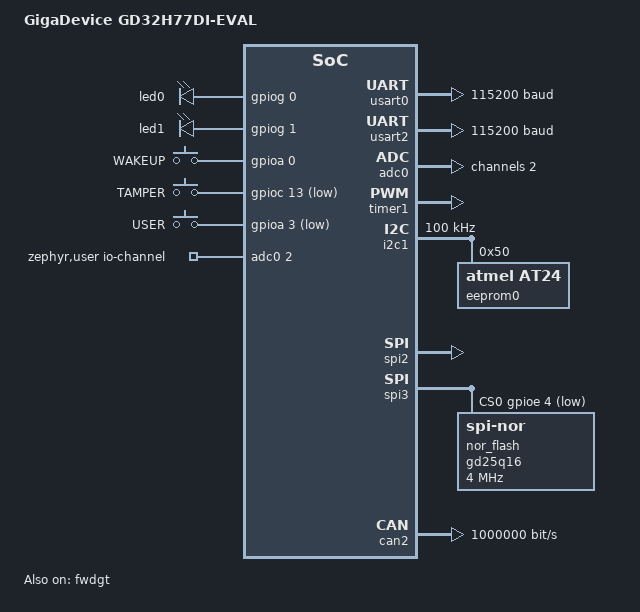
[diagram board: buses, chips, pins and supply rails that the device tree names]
/*
 * Copyright (c) 2026 GigaDevice Semiconductor Inc.
 *
 * SPDX-License-Identifier: Apache-2.0
 */

/dts-v1/;

#include <gd/gd32h77x_78x/gd32h77d.dtsi>
#include "gd32h77di_eval-pinctrl.dtsi"
#include <zephyr/dt-bindings/input/input-event-codes.h>
#include <zephyr/dt-bindings/adc/adc.h>
#include <zephyr/dt-bindings/dma/gd32_dma.h>

/ {
	model = "GigaDevice GD32H77DI-EVAL";
	compatible = "gd,gd32h77di-eval";

	chosen {
		zephyr,sram = &sram0;
		zephyr,dtcm = &dtcm;
		zephyr,flash = &flash0;
		zephyr,console = &usart0;
		zephyr,shell-uart = &usart0;
		zephyr,flash-controller = &fmc;
		zephyr,canbus = &can2;
	};

	leds {
		compatible = "gpio-leds";

		led0: led0 {
			gpios = <&gpiog 0 GPIO_ACTIVE_HIGH>;
		};

		led1: led1 {
			gpios = <&gpiog 1 GPIO_ACTIVE_HIGH>;
		};
	};

	keys {
		compatible = "gpio-keys";

		wakeup_key: wakeup_key {
			label = "WAKEUP";
			gpios = <&gpioa 0 GPIO_ACTIVE_HIGH>;
			zephyr,code = <INPUT_KEY_WAKEUP>;
		};

		tamper_key: tamper_key {
			label = "TAMPER";
			gpios = <&gpioc 13 GPIO_ACTIVE_LOW>;
			zephyr,code = <INPUT_KEY_0>;
		};

		user_key: user_key {
			label = "USER";
			gpios = <&gpioa 3 GPIO_ACTIVE_LOW>;
			zephyr,code = <INPUT_KEY_1>;
		};
	};

	aliases {
		led0 = &led0;
		led1 = &led1;
		sw0 = &user_key;
		watchdog0 = &fwdgt;
		spi-flash0 = &nor_flash;
		eeprom-0 = &eeprom0;
	};

	zephyr,user {
		io-channels = <&adc0 2>;
	};
};

&flash0 {
	partitions {
		compatible = "fixed-partitions";
		#address-cells = <1>;
		#size-cells = <1>;

		/* Last two 64KB CNVM sectors */
		storage_partition: partition@1e0000 {
			label = "storage";
			reg = <0x001e0000 DT_SIZE_K(128)>;
		};
	};
};

&gpioa {
	status = "okay";
};

&gpiob {
	status = "okay";
};

&gpioc {
	status = "okay";
};

&gpioe {
	status = "okay";
};

&gpiog {
	status = "okay";
};

&usart0 {
	status = "okay";
	current-speed = <115200>;
	pinctrl-0 = <&usart0_default>;
	pinctrl-names = "default";
};

&usart2 {
	status = "okay";
	current-speed = <115200>;
	pinctrl-0 = <&usart2_default>;
	pinctrl-names = "default";
};

&fwdgt {
	status = "okay";
};

&adc0 {
	status = "okay";
	pinctrl-0 = <&adc0_default>;
	pinctrl-names = "default";
	#address-cells = <1>;
	#size-cells = <0>;

	channel@2 {
		reg = <2>;
		zephyr,gain = "ADC_GAIN_1";
		zephyr,reference = "ADC_REF_INTERNAL";
		zephyr,acquisition-time = <ADC_ACQ_TIME_DEFAULT>;
		zephyr,resolution = <12>;
	};
};

&timer1 {
	status = "okay";
	prescaler = <0>;

	pwm1: pwm {
		status = "okay";
		pinctrl-0 = <&pwm1_default>;
		pinctrl-names = "default";
	};
};

&dma0 {
	status = "okay";
};

&dma1 {
	status = "okay";
};

&dmamux {
	status = "okay";
};

&i2c1 {
	status = "okay";
	pinctrl-0 = <&i2c1_default>;
	pinctrl-names = "default";
	clock-frequency = <I2C_BITRATE_STANDARD>;
	dmas = <&dmamux 2 45 (GD32_DMA_PERIPH_RX | GD32_DMA_PRIORITY_HIGH)>,
	       <&dmamux 3 46 (GD32_DMA_PERIPH_TX | GD32_DMA_PRIORITY_HIGH)>;
	dma-names = "rx", "tx";

	eeprom0: eeprom@50 {
		compatible = "atmel,at24";
		reg = <0x50>;
		size = <256>;
		pagesize = <8>;
		address-width = <8>;
		timeout = <5>;
	};
};

&spi2 {
	status = "okay";
	pinctrl-0 = <&spi2_default>;
	pinctrl-names = "default";
};

&spi3 {
	status = "okay";
	pinctrl-0 = <&spi3_default>;
	pinctrl-names = "default";
	cs-gpios = <&gpioe 4 GPIO_ACTIVE_LOW>;
	dmas = <&dmamux 4 97 (GD32_DMA_PERIPH_RX | GD32_DMA_PRIORITY_HIGH)>,
	       <&dmamux 5 98 (GD32_DMA_PERIPH_TX | GD32_DMA_PRIORITY_HIGH)>;
	dma-names = "rx", "tx";

	nor_flash: gd25q16@0 {
		compatible = "jedec,spi-nor";
		reg = <0>;
		size = <0x1000000>;
		spi-max-frequency = <4000000>;
		jedec-id = [c8 40 15];
		status = "okay";
	};
};

&can2 {
	status = "okay";
	pinctrl-0 = <&can2_default>;
	pinctrl-names = "default";
	bitrate = <1000000>;
	bitrate-data = <1000000>;
	sample-point = <800>;
	sample-point-data = <800>;
};
